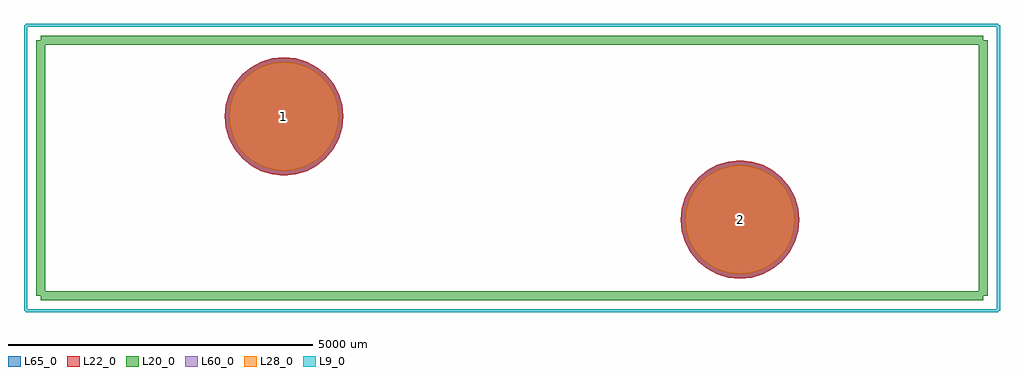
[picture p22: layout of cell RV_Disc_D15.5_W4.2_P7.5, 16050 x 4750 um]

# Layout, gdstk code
import gdstk
lib = gdstk.Library(unit=1e-6, precision=1e-09)
def P(c, l, *ps):  # polygons
    for p in ps: c.add(gdstk.Polygon(p, *l))
L9_0 = (9, 0)
L20_0 = (20, 0)
L22_0 = (22, 0)
L28_0 = (28, 0)
L60_0 = (60, 0)
L65_0 = (65, 0)

rv_disc_d15_5_w4_2_p7_5 = lib.new_cell('RV_Disc_D15.5_W4.2_P7.5')
P(rv_disc_d15_5_w4_2_p7_5, L22_0, [(8475,-1700),(8456.266,-1509.787),(8400.783,-1326.884),(8310.683,-1158.319),(8189.429,-1010.571),(8041.681,-889.317),(7873.116,-799.217),(7690.213,-743.734),(7500,-725),(7309.787,-743.734),(7126.884,-799.217),(6958.319,-889.317),(6810.571,-1010.571),(6689.317,-1158.319),(6599.217,-1326.884),(6543.734,-1509.787),(6525,-1700),(6543.734,-1890.213),(6599.217,-2073.116),(6689.317,-2241.681),(6810.571,-2389.429),(6958.319,-2510.683),(7126.884,-2600.783),(7309.787,-2656.266),(7500,-2675),(7690.213,-2656.266),(7873.116,-2600.783),(8041.681,-2510.683),(8189.429,-2389.429),(8310.683,-2241.681),(8400.783,-2073.116),(8456.266,-1890.213)],
  [(975,0),(956.266,190.213),(900.783,373.116),(810.683,541.681),(689.429,689.429),(541.681,810.683),(373.116,900.783),(190.213,956.266),(0,975),(-190.213,956.266),(-373.116,900.783),(-541.681,810.683),(-689.429,689.429),(-810.683,541.681),(-900.783,373.116),(-956.266,190.213),(-975,0),(-956.266,-190.213),(-900.783,-373.116),(-810.683,-541.681),(-689.429,-689.429),(-541.681,-810.683),(-373.116,-900.783),(-190.213,-956.266),(0,-975),(190.213,-956.266),(373.116,-900.783),(541.681,-810.683),(689.429,-689.429),(810.683,-541.681),(900.783,-373.116),(956.266,-190.213)])
P(rv_disc_d15_5_w4_2_p7_5, L28_0, [(8400,-1700),(8382.707,-1524.419),(8331.492,-1355.585),(8248.323,-1199.987),(8136.396,-1063.604),(8000.013,-951.677),(7844.415,-868.508),(7675.581,-817.293),(7500,-800),(7324.419,-817.293),(7155.585,-868.508),(6999.987,-951.677),(6863.604,-1063.604),(6751.677,-1199.987),(6668.508,-1355.585),(6617.293,-1524.419),(6600,-1700),(6617.293,-1875.581),(6668.508,-2044.415),(6751.677,-2200.013),(6863.604,-2336.396),(6999.987,-2448.323),(7155.585,-2531.492),(7324.419,-2582.707),(7500,-2600),(7675.581,-2582.707),(7844.415,-2531.492),(8000.013,-2448.323),(8136.396,-2336.396),(8248.323,-2200.013),(8331.492,-2044.415),(8382.707,-1875.581)],
  [(900,0),(882.707,175.581),(831.492,344.415),(748.323,500.013),(636.396,636.396),(500.013,748.323),(344.415,831.492),(175.581,882.707),(0,900),(-175.581,882.707),(-344.415,831.492),(-500.013,748.323),(-636.396,636.396),(-748.323,500.013),(-831.492,344.415),(-882.707,175.581),(-900,0),(-882.707,-175.581),(-831.492,-344.415),(-748.323,-500.013),(-636.396,-636.396),(-500.013,-748.323),(-344.415,-831.492),(-175.581,-882.707),(0,-900),(175.581,-882.707),(344.415,-831.492),(500.013,-748.323),(636.396,-636.396),(748.323,-500.013),(831.492,-344.415),(882.707,-175.581)])
P(rv_disc_d15_5_w4_2_p7_5, L60_0, [(8400,-1700),(8382.707,-1524.419),(8331.492,-1355.585),(8248.323,-1199.987),(8136.396,-1063.604),(8000.013,-951.677),(7844.415,-868.508),(7675.581,-817.293),(7500,-800),(7324.419,-817.293),(7155.585,-868.508),(6999.987,-951.677),(6863.604,-1063.604),(6751.677,-1199.987),(6668.508,-1355.585),(6617.293,-1524.419),(6600,-1700),(6617.293,-1875.581),(6668.508,-2044.415),(6751.677,-2200.013),(6863.604,-2336.396),(6999.987,-2448.323),(7155.585,-2531.492),(7324.419,-2582.707),(7500,-2600),(7675.581,-2582.707),(7844.415,-2531.492),(8000.013,-2448.323),(8136.396,-2336.396),(8248.323,-2200.013),(8331.492,-2044.415),(8382.707,-1875.581)],
  [(900,0),(882.707,175.581),(831.492,344.415),(748.323,500.013),(636.396,636.396),(500.013,748.323),(344.415,831.492),(175.581,882.707),(0,900),(-175.581,882.707),(-344.415,831.492),(-500.013,748.323),(-636.396,636.396),(-748.323,500.013),(-831.492,344.415),(-882.707,175.581),(-900,0),(-882.707,-175.581),(-831.492,-344.415),(-748.323,-500.013),(-636.396,-636.396),(-500.013,-748.323),(-344.415,-831.492),(-175.581,-882.707),(0,-900),(175.581,-882.707),(344.415,-831.492),(500.013,-748.323),(636.396,-636.396),(748.323,-500.013),(831.492,-344.415),(882.707,-175.581)])
P(rv_disc_d15_5_w4_2_p7_5, L65_0, [(8475,-1700),(8456.266,-1509.787),(8400.783,-1326.884),(8310.683,-1158.319),(8189.429,-1010.571),(8041.681,-889.317),(7873.116,-799.217),(7690.213,-743.734),(7500,-725),(7309.787,-743.734),(7126.884,-799.217),(6958.319,-889.317),(6810.571,-1010.571),(6689.317,-1158.319),(6599.217,-1326.884),(6543.734,-1509.787),(6525,-1700),(6543.734,-1890.213),(6599.217,-2073.116),(6689.317,-2241.681),(6810.571,-2389.429),(6958.319,-2510.683),(7126.884,-2600.783),(7309.787,-2656.266),(7500,-2675),(7690.213,-2656.266),(7873.116,-2600.783),(8041.681,-2510.683),(8189.429,-2389.429),(8310.683,-2241.681),(8400.783,-2073.116),(8456.266,-1890.213)],
  [(975,0),(956.266,190.213),(900.783,373.116),(810.683,541.681),(689.429,689.429),(541.681,810.683),(373.116,900.783),(190.213,956.266),(0,975),(-190.213,956.266),(-373.116,900.783),(-541.681,810.683),(-689.429,689.429),(-810.683,541.681),(-900.783,373.116),(-956.266,190.213),(-975,0),(-956.266,-190.213),(-900.783,-373.116),(-810.683,-541.681),(-689.429,-689.429),(-541.681,-810.683),(-373.116,-900.783),(-190.213,-956.266),(0,-975),(190.213,-956.266),(373.116,-900.783),(541.681,-810.683),(689.429,-689.429),(810.683,-541.681),(900.783,-373.116),(956.266,-190.213)])
rv_disc_d15_5_w4_2_p7_5.add(gdstk.FlexPath([(-4000,1250),(-4000,-2950)], 149.998, ends="flush", simple_path=True, layer=20, datatype=0))  # L20_0
rv_disc_d15_5_w4_2_p7_5.add(gdstk.FlexPath([(11500,1250),(11500,-2950)], 149.998, ends="flush", simple_path=True, layer=20, datatype=0))  # L20_0
rv_disc_d15_5_w4_2_p7_5.add(gdstk.FlexPath([(-4000,1250),(11500,1250)], 149.998, ends="flush", simple_path=True, layer=20, datatype=0))  # L20_0
rv_disc_d15_5_w4_2_p7_5.add(gdstk.FlexPath([(-4000,-2950),(11500,-2950)], 149.998, ends="flush", simple_path=True, layer=20, datatype=0))  # L20_0
rv_disc_d15_5_w4_2_p7_5.add(gdstk.FlexPath([(-4250,1500),(-4250,-3200)], 50, ends="flush", simple_path=True, layer=9, datatype=0))  # L9_0
rv_disc_d15_5_w4_2_p7_5.add(gdstk.FlexPath([(11750,1500),(11750,-3200)], 50, ends="flush", simple_path=True, layer=9, datatype=0))  # L9_0
rv_disc_d15_5_w4_2_p7_5.add(gdstk.FlexPath([(-4250,1500),(11750,1500)], 50, ends="flush", simple_path=True, layer=9, datatype=0))  # L9_0
rv_disc_d15_5_w4_2_p7_5.add(gdstk.FlexPath([(-4250,-3200),(11750,-3200)], 50, ends="flush", simple_path=True, layer=9, datatype=0))  # L9_0
rv_disc_d15_5_w4_2_p7_5.add(gdstk.Label('2', (7500,-1700), layer=28, texttype=0))
rv_disc_d15_5_w4_2_p7_5.add(gdstk.Label('1', (0,0), layer=28, texttype=0))
rv_disc_d15_5_w4_2_p7_5.add(gdstk.Label('type', (3750,2250), layer=9, texttype=0))
rv_disc_d15_5_w4_2_p7_5.add(gdstk.Label('devicename', (3750,-3950), layer=9, texttype=0))

lib.write_gds('RV_Disc_D15.5_W4.2_P7.5.gds')
